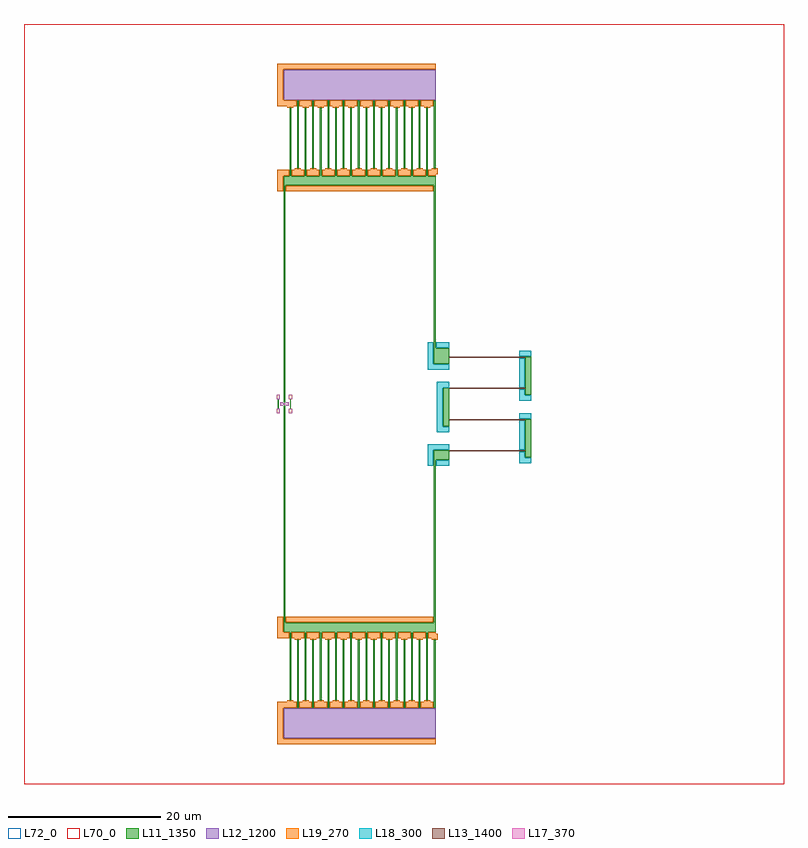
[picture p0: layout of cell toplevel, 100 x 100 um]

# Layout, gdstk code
import gdstk
lib = gdstk.Library(unit=1e-6, precision=1e-09)
def R(c, l, rs):  # rectangles x0, y0, x1, y1
    for r in rs: c.add(gdstk.rectangle(r[:2], r[2:], *l))
def P(c, l, *ps):  # polygons
    for p in ps: c.add(gdstk.Polygon(p, *l))
L11_1350 = (11, 1350)
L12_1200 = (12, 1200)
L13_1400 = (13, 1400)
L17_370 = (17, 370)
L18_300 = (18, 300)
L19_270 = (19, 270)
L70_0 = (70, 0)
L72_0 = (72, 0)

rectangle025 = lib.new_cell('rectangle025')
R(rectangle025, L11_1350, [(0,0,0.2,1.8)])

jj_top = lib.new_cell('JJ Top')
jj_top.add(gdstk.Reference(rectangle025, (-0.1,0.2)))

rectangle026 = lib.new_cell('rectangle026')
R(rectangle026, L11_1350, [(0,0,0.2,1.8)])

jj_bot = lib.new_cell('JJ Bot')
jj_bot.add(gdstk.Reference(rectangle026, (-0.1,-2)))

rectangle027 = lib.new_cell('rectangle027')
R(rectangle027, L11_1350, [(0,0,0.22,26.8)])

top_arm = lib.new_cell('Top Arm')
top_arm.add(gdstk.Reference(rectangle027, (-0.11,2)))

rectangle028 = lib.new_cell('rectangle028')
R(rectangle028, L11_1350, [(0,0,0.22,26.8)])

bot_arm = lib.new_cell('Bot Arm')
bot_arm.add(gdstk.Reference(rectangle028, (-0.11,-28.8)))

junction = lib.new_cell('Junction')
junction.add(gdstk.Reference(jj_top, (0,0)))
junction.add(gdstk.Reference(jj_bot, (0,0)))
junction.add(gdstk.Reference(top_arm, (0,0)))
junction.add(gdstk.Reference(bot_arm, (0,0)))

rectangle030 = lib.new_cell('rectangle030')
R(rectangle030, L17_370, [(-0.15,1.2,0.25,1.8)])

rectangle031 = lib.new_cell('rectangle031')
R(rectangle031, L17_370, [(-0.15,-0.6,0.25,0)])

rectangle029 = lib.new_cell('rectangle029')
R(rectangle029, L11_1350, [(0,0,0.1,1.2)])
rectangle029.add(gdstk.Reference(rectangle030, (0,0)))
rectangle029.add(gdstk.Reference(rectangle031, (0,0)))

boolean032 = lib.new_cell('boolean032')
P(boolean032, L17_370, [(-0.2,-0.125),(0.2,-0.125),(0.2,-0.25),(0.55,-0.25),(0.55,0.25),(0.2,0.25),(0.2,0.125),(-0.2,0.125),(-0.2,0.25),(-0.55,0.25),(-0.55,-0.25),(-0.2,-0.25)])

h_undercut_with_boxes = lib.new_cell('H undercut with boxes')
h_undercut_with_boxes.add(gdstk.Reference(rectangle029, (-0.85,-0.6)))
h_undercut_with_boxes.add(gdstk.Reference(rectangle029, (0.75,-0.6)))
h_undercut_with_boxes.add(gdstk.Reference(boolean032, (0,0)))

josephson_junction = lib.new_cell('Josephson Junction')
josephson_junction.add(gdstk.Reference(junction, (0,0)))
josephson_junction.add(gdstk.Reference(h_undercut_with_boxes, (0,0)))

rectangle036 = lib.new_cell('rectangle036')
R(rectangle036, L11_1350, [(-0.22,-21.49,0,0)])

rectangle035 = lib.new_cell('rectangle035')
R(rectangle035, L11_1350, [(-20,0,0,1.2)])

connector034 = lib.new_cell('Connector034')
connector034.add(gdstk.Reference(rectangle035, (0,0)))

boolean037 = lib.new_cell('boolean037')

rectangle039 = lib.new_cell('rectangle039')
R(rectangle039, L12_1200, [(-20,0,0,4)])

connector038 = lib.new_cell('Connector038')
connector038.add(gdstk.Reference(rectangle039, (0,11.2)))

boolean041 = lib.new_cell('boolean041')

undercut040 = lib.new_cell('Undercut040')
undercut040.add(gdstk.Reference(boolean041, (0,11.2)))

rectangle043 = lib.new_cell('rectangle043')

rectangle042 = lib.new_cell('rectangle042')
R(rectangle042, L11_1350, [(-0.22,2.2,0,11.2)])
rectangle042.add(gdstk.Reference(rectangle043, (0,11.2)))

rectangle045 = lib.new_cell('rectangle045')

rectangle044 = lib.new_cell('rectangle044')
R(rectangle044, L11_1350, [(-1.22,1.2,-1,10.2)])
rectangle044.add(gdstk.Reference(rectangle045, (-1,10.2)))

rectangle047 = lib.new_cell('rectangle047')

rectangle046 = lib.new_cell('rectangle046')
R(rectangle046, L11_1350, [(-2.22,2.2,-2,11.2)])
rectangle046.add(gdstk.Reference(rectangle047, (-2,11.2)))

rectangle049 = lib.new_cell('rectangle049')

rectangle048 = lib.new_cell('rectangle048')
R(rectangle048, L11_1350, [(-3.22,1.2,-3,10.2)])
rectangle048.add(gdstk.Reference(rectangle049, (-3,10.2)))

rectangle051 = lib.new_cell('rectangle051')

rectangle050 = lib.new_cell('rectangle050')
R(rectangle050, L11_1350, [(-4.22,2.2,-4,11.2)])
rectangle050.add(gdstk.Reference(rectangle051, (-4,11.2)))

rectangle053 = lib.new_cell('rectangle053')

rectangle052 = lib.new_cell('rectangle052')
R(rectangle052, L11_1350, [(-5.22,1.2,-5,10.2)])
rectangle052.add(gdstk.Reference(rectangle053, (-5,10.2)))

rectangle055 = lib.new_cell('rectangle055')

rectangle054 = lib.new_cell('rectangle054')
R(rectangle054, L11_1350, [(-6.22,2.2,-6,11.2)])
rectangle054.add(gdstk.Reference(rectangle055, (-6,11.2)))

rectangle057 = lib.new_cell('rectangle057')

rectangle056 = lib.new_cell('rectangle056')
R(rectangle056, L11_1350, [(-7.22,1.2,-7,10.2)])
rectangle056.add(gdstk.Reference(rectangle057, (-7,10.2)))

rectangle059 = lib.new_cell('rectangle059')

rectangle058 = lib.new_cell('rectangle058')
R(rectangle058, L11_1350, [(-8.22,2.2,-8,11.2)])
rectangle058.add(gdstk.Reference(rectangle059, (-8,11.2)))

rectangle061 = lib.new_cell('rectangle061')

rectangle060 = lib.new_cell('rectangle060')
R(rectangle060, L11_1350, [(-9.22,1.2,-9,10.2)])
rectangle060.add(gdstk.Reference(rectangle061, (-9,10.2)))

rectangle063 = lib.new_cell('rectangle063')

rectangle062 = lib.new_cell('rectangle062')
R(rectangle062, L11_1350, [(-10.22,2.2,-10,11.2)])
rectangle062.add(gdstk.Reference(rectangle063, (-10,11.2)))

rectangle065 = lib.new_cell('rectangle065')

rectangle064 = lib.new_cell('rectangle064')
R(rectangle064, L11_1350, [(-11.22,1.2,-11,10.2)])
rectangle064.add(gdstk.Reference(rectangle065, (-11,10.2)))

rectangle067 = lib.new_cell('rectangle067')

rectangle066 = lib.new_cell('rectangle066')
R(rectangle066, L11_1350, [(-12.22,2.2,-12,11.2)])
rectangle066.add(gdstk.Reference(rectangle067, (-12,11.2)))

rectangle069 = lib.new_cell('rectangle069')

rectangle068 = lib.new_cell('rectangle068')
R(rectangle068, L11_1350, [(-13.22,1.2,-13,10.2)])
rectangle068.add(gdstk.Reference(rectangle069, (-13,10.2)))

rectangle071 = lib.new_cell('rectangle071')

rectangle070 = lib.new_cell('rectangle070')
R(rectangle070, L11_1350, [(-14.22,2.2,-14,11.2)])
rectangle070.add(gdstk.Reference(rectangle071, (-14,11.2)))

rectangle073 = lib.new_cell('rectangle073')

rectangle072 = lib.new_cell('rectangle072')
R(rectangle072, L11_1350, [(-15.22,1.2,-15,10.2)])
rectangle072.add(gdstk.Reference(rectangle073, (-15,10.2)))

rectangle075 = lib.new_cell('rectangle075')

rectangle074 = lib.new_cell('rectangle074')
R(rectangle074, L11_1350, [(-16.22,2.2,-16,11.2)])
rectangle074.add(gdstk.Reference(rectangle075, (-16,11.2)))

rectangle077 = lib.new_cell('rectangle077')

rectangle076 = lib.new_cell('rectangle076')
R(rectangle076, L11_1350, [(-17.22,1.2,-17,10.2)])
rectangle076.add(gdstk.Reference(rectangle077, (-17,10.2)))

rectangle079 = lib.new_cell('rectangle079')

rectangle078 = lib.new_cell('rectangle078')
R(rectangle078, L11_1350, [(-18.22,2.2,-18,11.2)])
rectangle078.add(gdstk.Reference(rectangle079, (-18,11.2)))

rectangle081 = lib.new_cell('rectangle081')

rectangle080 = lib.new_cell('rectangle080')
R(rectangle080, L11_1350, [(-19.22,1.2,-19,10.2)])
rectangle080.add(gdstk.Reference(rectangle081, (-19,10.2)))

boolean082 = lib.new_cell('boolean082')

connector033 = lib.new_cell('Connector033')
connector033.add(gdstk.Reference(rectangle036, (19.89,28.8)))
connector033.add(gdstk.Reference(connector034, (19.89,28.8)))
connector033.add(gdstk.Reference(boolean037, (19.89,28.8)))
connector033.add(gdstk.Reference(connector038, (19.89,28.8)))
connector033.add(gdstk.Reference(undercut040, (19.89,28.8)))
connector033.add(gdstk.Reference(rectangle042, (19.89,28.8)))
connector033.add(gdstk.Reference(rectangle044, (19.89,28.8)))
connector033.add(gdstk.Reference(rectangle046, (19.89,28.8)))
connector033.add(gdstk.Reference(rectangle048, (19.89,28.8)))
connector033.add(gdstk.Reference(rectangle050, (19.89,28.8)))
connector033.add(gdstk.Reference(rectangle052, (19.89,28.8)))
connector033.add(gdstk.Reference(rectangle054, (19.89,28.8)))
connector033.add(gdstk.Reference(rectangle056, (19.89,28.8)))
connector033.add(gdstk.Reference(rectangle058, (19.89,28.8)))
connector033.add(gdstk.Reference(rectangle060, (19.89,28.8)))
connector033.add(gdstk.Reference(rectangle062, (19.89,28.8)))
connector033.add(gdstk.Reference(rectangle064, (19.89,28.8)))
connector033.add(gdstk.Reference(rectangle066, (19.89,28.8)))
connector033.add(gdstk.Reference(rectangle068, (19.89,28.8)))
connector033.add(gdstk.Reference(rectangle070, (19.89,28.8)))
connector033.add(gdstk.Reference(rectangle072, (19.89,28.8)))
connector033.add(gdstk.Reference(rectangle074, (19.89,28.8)))
connector033.add(gdstk.Reference(rectangle076, (19.89,28.8)))
connector033.add(gdstk.Reference(rectangle078, (19.89,28.8)))
connector033.add(gdstk.Reference(rectangle080, (19.89,28.8)))
connector033.add(gdstk.Reference(boolean082, (0,0)))

rectangle008 = lib.new_cell('rectangle008')
R(rectangle008, L11_1350, [(0,0,0.8,4.22)])

rectangle009 = lib.new_cell('rectangle009')
R(rectangle009, L11_1350, [(0,-0.8,0.8,0)])

arm_connector = lib.new_cell('Arm connector')
arm_connector.add(gdstk.Reference(rectangle008, (-0.8,-8.22)))
arm_connector.add(gdstk.Reference(rectangle009, (-0.8,-8.22)))

rectangle011 = lib.new_cell('rectangle011')
R(rectangle011, L11_1350, [(0,0,0.8,4.22)])

rectangle012 = lib.new_cell('rectangle012')
R(rectangle012, L11_1350, [(0,-0.8,0.8,0)])

arm_connector010 = lib.new_cell('Arm connector010')
arm_connector010.add(gdstk.Reference(rectangle011, (10,-4.11)))
arm_connector010.add(gdstk.Reference(rectangle012, (10,-4.11)))

rectangle015 = lib.new_cell('rectangle015')
R(rectangle015, L11_1350, [(0,0,0.8,4.22)])

rectangle016 = lib.new_cell('rectangle016')
R(rectangle016, L11_1350, [(0,-0.8,0.8,0)])

arm_connector014 = lib.new_cell('Arm connector014')
arm_connector014.add(gdstk.Reference(rectangle015, (10,-12.33)))
arm_connector014.add(gdstk.Reference(rectangle016, (10,-12.33)))

arms = lib.new_cell('Arms')
arms.add(gdstk.Reference(arm_connector, (0,0)))
arms.add(gdstk.Reference(arm_connector010, (0,0)))
arms.add(gdstk.Reference(arm_connector014, (0,0)))

rectangle = lib.new_cell('rectangle')
R(rectangle, L13_1400, [(0,0,10,0.11)])

resistive_segment = lib.new_cell('Resistive segment')
resistive_segment.add(gdstk.Reference(rectangle, (0,0)))

rectangle003 = lib.new_cell('rectangle003')
R(rectangle003, L13_1400, [(0,0,10,0.11)])

resistive_segment002 = lib.new_cell('Resistive segment002')
resistive_segment002.add(gdstk.Reference(rectangle003, (0,-4.11)))

rectangle005 = lib.new_cell('rectangle005')
R(rectangle005, L13_1400, [(0,0,10,0.11)])

resistive_segment004 = lib.new_cell('Resistive segment004')
resistive_segment004.add(gdstk.Reference(rectangle005, (0,-8.22)))

rectangle007 = lib.new_cell('rectangle007')
R(rectangle007, L13_1400, [(0,0,10,0.11)])

resistive_segment006 = lib.new_cell('Resistive segment006')
resistive_segment006.add(gdstk.Reference(rectangle007, (0,-12.33)))

resistive_segments = lib.new_cell('Resistive segments')
resistive_segments.add(gdstk.Reference(resistive_segment, (0,0)))
resistive_segments.add(gdstk.Reference(resistive_segment002, (0,0)))
resistive_segments.add(gdstk.Reference(resistive_segment004, (0,0)))
resistive_segments.add(gdstk.Reference(resistive_segment006, (0,0)))

boolean = lib.new_cell('boolean')

boolean013 = lib.new_cell('boolean013')

boolean017 = lib.new_cell('boolean017')

boolean020 = lib.new_cell('boolean020')

boolean024 = lib.new_cell('boolean024')

undercut023 = lib.new_cell('Undercut023')
undercut023.add(gdstk.Reference(boolean024, (0,-13.42)))

undercut = lib.new_cell('Undercut')
undercut.add(gdstk.Reference(boolean020, (0,0)))
undercut.add(gdstk.Reference(undercut023, (0,0)))

liftoff_undercut = lib.new_cell('Liftoff undercut')
liftoff_undercut.add(gdstk.Reference(boolean, (0,0)))
liftoff_undercut.add(gdstk.Reference(boolean013, (0,0)))
liftoff_undercut.add(gdstk.Reference(boolean017, (0,0)))
liftoff_undercut.add(gdstk.Reference(undercut, (0,0)))

rectangle018 = lib.new_cell('rectangle018')
R(rectangle018, L11_1350, [(-2,0,0,1.2)])

connector = lib.new_cell('Connector')
connector.add(gdstk.Reference(rectangle018, (0,0)))

rectangle019 = lib.new_cell('rectangle019')
R(rectangle019, L11_1350, [(-2,-0.8,0,0)])

top_connector = lib.new_cell('Top connector')
top_connector.add(gdstk.Reference(connector, (0,0)))
top_connector.add(gdstk.Reference(rectangle019, (0,0)))

rectangle022 = lib.new_cell('rectangle022')
R(rectangle022, L11_1350, [(-2,0,0,1.2)])

connector021 = lib.new_cell('Connector021')
connector021.add(gdstk.Reference(rectangle022, (0,-13.42)))

bot_connector = lib.new_cell('Bot connector')
bot_connector.add(gdstk.Reference(connector021, (0,0)))

boolean083 = lib.new_cell('boolean083')
R(boolean083, L18_300, [(19.95,-8.11,21.67,-7.37), (30.87,-6.05,31.61,-2.17), (30.87,-1.94,32.47,-1.2), (30.87,2.17,31.61,6.05), (30.87,6.28,32.47,7.02), (19.95,7.37,21.67,8.11)])
P(boolean083, L18_300, [(18.87,8.11),(18.87,4.51),(21.67,4.51),(21.67,5.25),(19.61,5.25),(19.61,8.11)],
  [(21.67,-2.97),(20.81,-2.97),(20.81,2.17),(21.67,2.17),(21.67,2.91),(20.07,2.91),(20.07,-3.71),(21.67,-3.71)],
  [(32.47,1.14),(31.61,1.14),(31.61,1.94),(30.87,1.94),(30.87,0.4),(32.47,0.4)],
  [(21.67,-6.05),(21.67,-5.31),(18.87,-5.31),(18.87,-8.11),(19.61,-8.11),(19.61,-6.05)],
  [(32.47,-7.08),(31.61,-7.08),(31.61,-6.28),(30.87,-6.28),(30.87,-7.82),(32.47,-7.82)])

resistor = lib.new_cell('Resistor')
resistor.add(gdstk.Reference(arms, (21.67,6.11)))
resistor.add(gdstk.Reference(resistive_segments, (21.67,6.11)))
resistor.add(gdstk.Reference(liftoff_undercut, (21.67,6.11)))
resistor.add(gdstk.Reference(top_connector, (21.67,6.11)))
resistor.add(gdstk.Reference(bot_connector, (21.67,6.11)))
resistor.add(gdstk.Reference(boolean083, (0,0)))

boolean084 = lib.new_cell('boolean084')
R(boolean084, L19_270, [(0.17,-28.74,19.6,-28), (0.17,28,19.6,28.74)])
P(boolean084, L19_270, [(1.18,39.2),(1.61,39.2),(1.61,39.94),(-0.17,39.94),(-0.17,44.06),(19.89,44.06),(19.89,44.8),(-0.91,44.8),(-0.91,39.2),(0.38,39.2),(0.38,39),(0.61,39),(0.61,39.06),(0.95,39.06),(0.95,39),(1.18,39)],
  [(5.18,39.2),(5.61,39.2),(5.61,39.94),(3.95,39.94),(3.95,39.2),(4.38,39.2),(4.38,39),(4.61,39),(4.61,39.06),(4.95,39.06),(4.95,39),(5.18,39)],
  [(7.18,39.2),(7.61,39.2),(7.61,39.94),(5.95,39.94),(5.95,39.2),(6.38,39.2),(6.38,39),(6.61,39),(6.61,39.06),(6.95,39.06),(6.95,39),(7.18,39)],
  [(3.18,39.2),(3.61,39.2),(3.61,39.94),(1.95,39.94),(1.95,39.2),(2.38,39.2),(2.38,39),(2.61,39),(2.61,39.06),(2.95,39.06),(2.95,39),(3.18,39)],
  [(9.18,39.2),(9.61,39.2),(9.61,39.94),(7.95,39.94),(7.95,39.2),(8.38,39.2),(8.38,39),(8.61,39),(8.61,39.06),(8.95,39.06),(8.95,39),(9.18,39)],
  [(11.18,39.2),(11.61,39.2),(11.61,39.94),(9.95,39.94),(9.95,39.2),(10.38,39.2),(10.38,39),(10.61,39),(10.61,39.06),(10.95,39.06),(10.95,39),(11.18,39)],
  [(15.18,39.2),(15.61,39.2),(15.61,39.94),(13.95,39.94),(13.95,39.2),(14.38,39.2),(14.38,39),(14.61,39),(14.61,39.06),(14.95,39.06),(14.95,39),(15.18,39)],
  [(17.18,39.2),(17.61,39.2),(17.61,39.94),(15.95,39.94),(15.95,39.2),(16.38,39.2),(16.38,39),(16.61,39),(16.61,39.06),(16.95,39.06),(16.95,39),(17.18,39)],
  [(19.18,39.2),(19.61,39.2),(19.61,39.94),(17.95,39.94),(17.95,39.2),(18.38,39.2),(18.38,39),(18.61,39),(18.61,39.06),(18.95,39.06),(18.95,39),(19.18,39)],
  [(13.18,39.2),(13.61,39.2),(13.61,39.94),(11.95,39.94),(11.95,39.2),(12.38,39.2),(12.38,39),(12.61,39),(12.61,39.06),(12.95,39.06),(12.95,39),(13.18,39)],
  [(6.61,30.06),(6.61,30.8),(6.18,30.8),(6.18,31),(5.95,31),(5.95,30.94),(5.61,30.94),(5.61,31),(5.38,31),(5.38,30.8),(4.95,30.8),(4.95,30.06)],
  [(4.61,30.06),(4.61,30.8),(4.18,30.8),(4.18,31),(3.95,31),(3.95,30.94),(3.61,30.94),(3.61,31),(3.38,31),(3.38,30.8),(2.95,30.8),(2.95,30.06)],
  [(8.61,30.06),(8.61,30.8),(8.18,30.8),(8.18,31),(7.95,31),(7.95,30.94),(7.61,30.94),(7.61,31),(7.38,31),(7.38,30.8),(6.95,30.8),(6.95,30.06)],
  [(10.61,30.06),(10.61,30.8),(10.18,30.8),(10.18,31),(9.95,31),(9.95,30.94),(9.61,30.94),(9.61,31),(9.38,31),(9.38,30.8),(8.95,30.8),(8.95,30.06)],
  [(2.61,30.06),(2.61,30.8),(2.18,30.8),(2.18,31),(1.95,31),(1.95,30.94),(1.61,30.94),(1.61,31),(1.38,31),(1.38,30.8),(0.95,30.8),(0.95,30.06)],
  [(12.61,30.06),(12.61,30.8),(12.18,30.8),(12.18,31),(11.95,31),(11.95,30.94),(11.61,30.94),(11.61,31),(11.38,31),(11.38,30.8),(10.95,30.8),(10.95,30.06)],
  [(14.61,30.06),(14.61,30.8),(14.18,30.8),(14.18,31),(13.95,31),(13.95,30.94),(13.61,30.94),(13.61,31),(13.38,31),(13.38,30.8),(12.95,30.8),(12.95,30.06)],
  [(16.61,30.06),(16.61,30.8),(16.18,30.8),(16.18,31),(15.95,31),(15.95,30.94),(15.61,30.94),(15.61,31),(15.38,31),(15.38,30.8),(14.95,30.8),(14.95,30.06)],
  [(18.61,30.06),(18.61,30.8),(18.18,30.8),(18.18,31),(17.95,31),(17.95,30.94),(17.61,30.94),(17.61,31),(17.38,31),(17.38,30.8),(16.95,30.8),(16.95,30.06)],
  [(19.89,30.06),(19.89,30.2),(20.18,30.2),(20.18,31),(19.95,31),(19.95,30.94),(19.61,30.94),(19.61,31),(19.38,31),(19.38,30.8),(18.95,30.8),(18.95,30.06)],
  [(-0.17,30.06),(0.61,30.06),(0.61,30.8),(-0.91,30.8),(-0.91,28),(-0.17,28)],
  [(-0.91,-28),(-0.91,-30.8),(0.61,-30.8),(0.61,-30.06),(-0.17,-30.06),(-0.17,-28)],
  [(20.18,-30.2),(19.89,-30.2),(19.89,-30.06),(18.95,-30.06),(18.95,-30.8),(19.38,-30.8),(19.38,-31),(19.61,-31),(19.61,-30.94),(19.95,-30.94),(19.95,-31),(20.18,-31)],
  [(4.18,-30.8),(4.61,-30.8),(4.61,-30.06),(2.95,-30.06),(2.95,-30.8),(3.38,-30.8),(3.38,-31),(3.61,-31),(3.61,-30.94),(3.95,-30.94),(3.95,-31),(4.18,-31)],
  [(6.18,-30.8),(6.61,-30.8),(6.61,-30.06),(4.95,-30.06),(4.95,-30.8),(5.38,-30.8),(5.38,-31),(5.61,-31),(5.61,-30.94),(5.95,-30.94),(5.95,-31),(6.18,-31)],
  [(8.18,-30.8),(8.61,-30.8),(8.61,-30.06),(6.95,-30.06),(6.95,-30.8),(7.38,-30.8),(7.38,-31),(7.61,-31),(7.61,-30.94),(7.95,-30.94),(7.95,-31),(8.18,-31)],
  [(10.18,-30.8),(10.61,-30.8),(10.61,-30.06),(8.95,-30.06),(8.95,-30.8),(9.38,-30.8),(9.38,-31),(9.61,-31),(9.61,-30.94),(9.95,-30.94),(9.95,-31),(10.18,-31)],
  [(12.18,-30.8),(12.61,-30.8),(12.61,-30.06),(10.95,-30.06),(10.95,-30.8),(11.38,-30.8),(11.38,-31),(11.61,-31),(11.61,-30.94),(11.95,-30.94),(11.95,-31),(12.18,-31)],
  [(14.18,-30.8),(14.61,-30.8),(14.61,-30.06),(12.95,-30.06),(12.95,-30.8),(13.38,-30.8),(13.38,-31),(13.61,-31),(13.61,-30.94),(13.95,-30.94),(13.95,-31),(14.18,-31)],
  [(16.18,-30.8),(16.61,-30.8),(16.61,-30.06),(14.95,-30.06),(14.95,-30.8),(15.38,-30.8),(15.38,-31),(15.61,-31),(15.61,-30.94),(15.95,-30.94),(15.95,-31),(16.18,-31)],
  [(18.18,-30.8),(18.61,-30.8),(18.61,-30.06),(16.95,-30.06),(16.95,-30.8),(17.38,-30.8),(17.38,-31),(17.61,-31),(17.61,-30.94),(17.95,-30.94),(17.95,-31),(18.18,-31)],
  [(2.18,-30.8),(2.61,-30.8),(2.61,-30.06),(0.95,-30.06),(0.95,-30.8),(1.38,-30.8),(1.38,-31),(1.61,-31),(1.61,-30.94),(1.95,-30.94),(1.95,-31),(2.18,-31)],
  [(5.61,-39.94),(5.61,-39.2),(5.18,-39.2),(5.18,-39),(4.95,-39),(4.95,-39.06),(4.61,-39.06),(4.61,-39),(4.38,-39),(4.38,-39.2),(3.95,-39.2),(3.95,-39.94)],
  [(7.61,-39.94),(7.61,-39.2),(7.18,-39.2),(7.18,-39),(6.95,-39),(6.95,-39.06),(6.61,-39.06),(6.61,-39),(6.38,-39),(6.38,-39.2),(5.95,-39.2),(5.95,-39.94)],
  [(9.61,-39.94),(9.61,-39.2),(9.18,-39.2),(9.18,-39),(8.95,-39),(8.95,-39.06),(8.61,-39.06),(8.61,-39),(8.38,-39),(8.38,-39.2),(7.95,-39.2),(7.95,-39.94)],
  [(19.89,-44.06),(-0.17,-44.06),(-0.17,-39.94),(1.61,-39.94),(1.61,-39.2),(1.18,-39.2),(1.18,-39),(0.95,-39),(0.95,-39.06),(0.61,-39.06),(0.61,-39),(0.38,-39),(0.38,-39.2),(-0.91,-39.2),(-0.91,-44.8),(19.89,-44.8)],
  [(3.61,-39.94),(3.61,-39.2),(3.18,-39.2),(3.18,-39),(2.95,-39),(2.95,-39.06),(2.61,-39.06),(2.61,-39),(2.38,-39),(2.38,-39.2),(1.95,-39.2),(1.95,-39.94)],
  [(19.61,-39.94),(19.61,-39.2),(19.18,-39.2),(19.18,-39),(18.95,-39),(18.95,-39.06),(18.61,-39.06),(18.61,-39),(18.38,-39),(18.38,-39.2),(17.95,-39.2),(17.95,-39.94)],
  [(17.61,-39.94),(17.61,-39.2),(17.18,-39.2),(17.18,-39),(16.95,-39),(16.95,-39.06),(16.61,-39.06),(16.61,-39),(16.38,-39),(16.38,-39.2),(15.95,-39.2),(15.95,-39.94)],
  [(13.61,-39.94),(13.61,-39.2),(13.18,-39.2),(13.18,-39),(12.95,-39),(12.95,-39.06),(12.61,-39.06),(12.61,-39),(12.38,-39),(12.38,-39.2),(11.95,-39.2),(11.95,-39.94)],
  [(15.61,-39.94),(15.61,-39.2),(15.18,-39.2),(15.18,-39),(14.95,-39),(14.95,-39.06),(14.61,-39.06),(14.61,-39),(14.38,-39),(14.38,-39.2),(13.95,-39.2),(13.95,-39.94)],
  [(11.61,-39.94),(11.61,-39.2),(11.18,-39.2),(11.18,-39),(10.95,-39),(10.95,-39.06),(10.61,-39.06),(10.61,-39),(10.38,-39),(10.38,-39.2),(9.95,-39.2),(9.95,-39.94)])

rectangle086 = lib.new_cell('rectangle086')
R(rectangle086, L72_0, [(0,0,100,100)])

working_area = lib.new_cell('Working area')
working_area.add(gdstk.Reference(rectangle086, (-34.265,-50)))

rectangle085 = lib.new_cell('rectangle085')
R(rectangle085, L70_0, [(0,0,100,100)])

writefield = lib.new_cell('Writefield')
writefield.add(gdstk.Reference(rectangle085, (-34.265,-50)))

toplevel = lib.new_cell('toplevel')
toplevel.add(gdstk.Reference(josephson_junction, (0,0)))
toplevel.add(gdstk.Reference(connector033, (0,0)))
toplevel.add(gdstk.Reference(connector033, (0,0), x_reflection=True))
toplevel.add(gdstk.Reference(resistor, (0,0)))
toplevel.add(gdstk.Reference(boolean084, (0,0)))
toplevel.add(gdstk.Reference(working_area, (0,0)))
toplevel.add(gdstk.Reference(writefield, (0,0)))

lib.write_gds('toplevel.gds')
